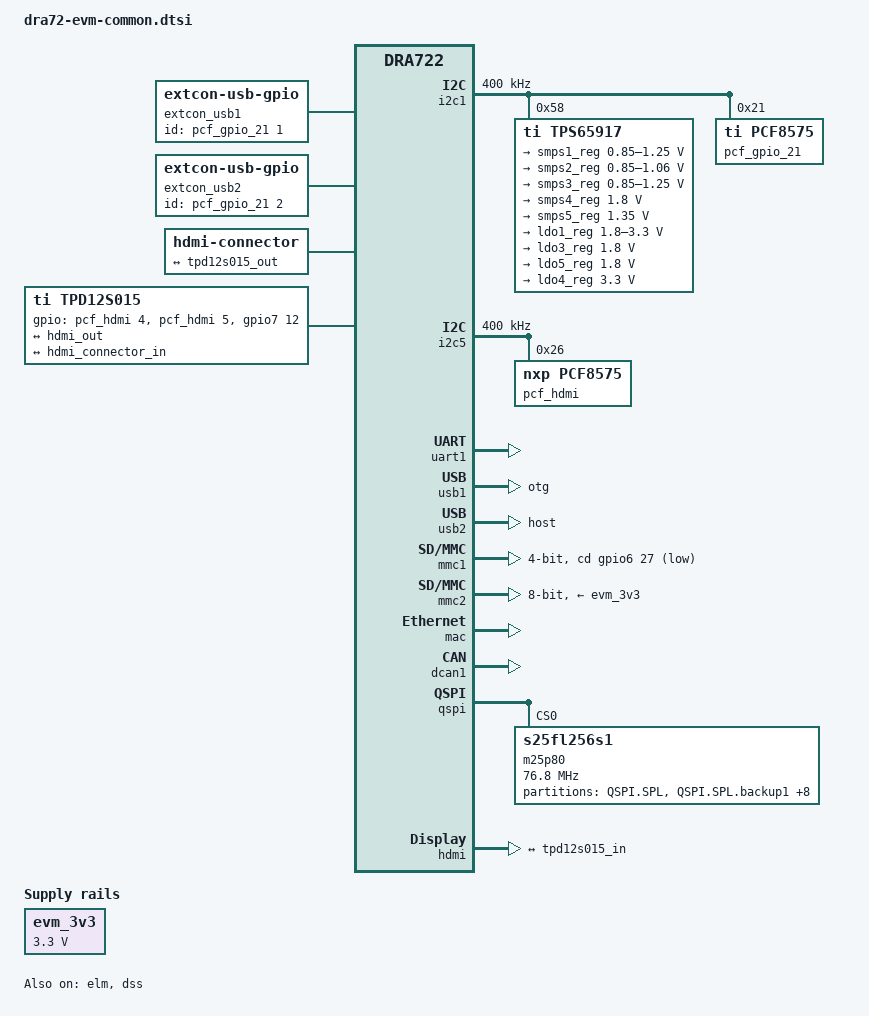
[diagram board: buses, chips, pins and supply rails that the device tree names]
/*
 * Copyright (C) 2016 Texas Instruments Incorporated - http://www.ti.com/
 *
 * This program is free software; you can redistribute it and/or modify
 * it under the terms of the GNU General Public License version 2 as
 * published by the Free Software Foundation.
 */
/dts-v1/;

#include "dra72x.dtsi"
#include <dt-bindings/gpio/gpio.h>

/ {
	compatible = "ti,dra72-evm", "ti,dra722", "ti,dra72", "ti,dra7";

	chosen {
		stdout-path = &uart1;
		tick-timer = &timer2;
	};

	aliases {
		display0 = &hdmi0;
	};

	evm_3v3: fixedregulator-evm_3v3 {
		compatible = "regulator-fixed";
		regulator-name = "evm_3v3";
		regulator-min-microvolt = <3300000>;
		regulator-max-microvolt = <3300000>;
	};

	extcon_usb1: extcon_usb1 {
		compatible = "linux,extcon-usb-gpio";
		id-gpio = <&pcf_gpio_21 1 GPIO_ACTIVE_HIGH>;
	};

	extcon_usb2: extcon_usb2 {
		compatible = "linux,extcon-usb-gpio";
		id-gpio = <&pcf_gpio_21 2 GPIO_ACTIVE_HIGH>;
	};

	hdmi0: connector {
		compatible = "hdmi-connector";
		label = "hdmi";

		type = "a";

		port {
			hdmi_connector_in: endpoint {
				remote-endpoint = <&tpd12s015_out>;
			};
		};
	};

	tpd12s015: encoder {
		compatible = "ti,tpd12s015";

		gpios = <&pcf_hdmi 4 GPIO_ACTIVE_HIGH>,	/* P4, CT CP HPD */
			<&pcf_hdmi 5 GPIO_ACTIVE_HIGH>,	/* P5, LS OE */
			<&gpio7 12 GPIO_ACTIVE_HIGH>;	/* gpio7_12/sp1_cs2, HPD */

		ports {
			#address-cells = <1>;
			#size-cells = <0>;

			port@0 {
				reg = <0>;

				tpd12s015_in: endpoint {
					remote-endpoint = <&hdmi_out>;
				};
			};

			port@1 {
				reg = <1>;

				tpd12s015_out: endpoint {
					remote-endpoint = <&hdmi_connector_in>;
				};
			};
		};
	};
};

&dra7_pmx_core {
	mmc1_pins_default: mmc1_pins_default {
		pinctrl-single,pins = <
			0x354 (PIN_INPUT_PULLUP | MUX_MODE0) /* mmc1_clk.clk */
			0x358 (PIN_INPUT_PULLUP | MUX_MODE0) /* mmc1_cmd.cmd */
			0x35c (PIN_INPUT_PULLUP | MUX_MODE0) /* mmc1_dat0.dat0 */
			0x360 (PIN_INPUT_PULLUP | MUX_MODE0) /* mmc1_dat1.dat1 */
			0x364 (PIN_INPUT_PULLUP | MUX_MODE0) /* mmc1_dat2.dat2 */
			0x368 (PIN_INPUT_PULLUP | MUX_MODE0) /* mmc1_dat3.dat3 */
		>;
	};

	mmc2_pins_default: mmc2_pins_default {
		pinctrl-single,pins = <
			0x9c (PIN_INPUT_PULLUP | MUX_MODE1) /* gpmc_a23.mmc2_clk */
			0xb0 (PIN_INPUT_PULLUP | MUX_MODE1) /* gpmc_cs1.mmc2_cmd */
			0xa0 (PIN_INPUT_PULLUP | MUX_MODE1) /* gpmc_a24.mmc2_dat0 */
			0xa4 (PIN_INPUT_PULLUP | MUX_MODE1) /* gpmc_a25.mmc2_dat1 */
			0xa8 (PIN_INPUT_PULLUP | MUX_MODE1) /* gpmc_a26.mmc2_dat2 */
			0xac (PIN_INPUT_PULLUP | MUX_MODE1) /* gpmc_a27.mmc2_dat3 */
			0x8c (PIN_INPUT_PULLUP | MUX_MODE1) /* gpmc_a19.mmc2_dat4 */
			0x90 (PIN_INPUT_PULLUP | MUX_MODE1) /* gpmc_a20.mmc2_dat5 */
			0x94 (PIN_INPUT_PULLUP | MUX_MODE1) /* gpmc_a21.mmc2_dat6 */
			0x98 (PIN_INPUT_PULLUP | MUX_MODE1) /* gpmc_a22.mmc2_dat7 */
		>;
	};

	dcan1_pins_default: dcan1_pins_default {
		pinctrl-single,pins = <
			0x3d0   (PIN_OUTPUT_PULLUP | MUX_MODE0) /* dcan1_tx */
			0x418   (PULL_UP | MUX_MODE1)	/* wakeup0.dcan1_rx */
		>;
	};

	dcan1_pins_sleep: dcan1_pins_sleep {
		pinctrl-single,pins = <
			0x3d0   (MUX_MODE15 | PULL_UP)	/* dcan1_tx.off */
			0x418   (MUX_MODE15 | PULL_UP)	/* wakeup0.off */
		>;
	};
};

&i2c1 {
	status = "okay";
	clock-frequency = <400000>;

	tps65917: tps65917@58 {
		compatible = "ti,tps65917";
		reg = <0x58>;

		interrupts = <GIC_SPI 2 IRQ_TYPE_NONE>;  /* IRQ_SYS_1N */
		interrupt-controller;
		#interrupt-cells = <2>;

		ti,system-power-controller;

		tps65917_pmic {
			compatible = "ti,tps65917-pmic";

			tps65917_regulators: regulators {
				smps1_reg: smps1 {
					/* VDD_MPU */
					regulator-name = "smps1";
					regulator-min-microvolt = <850000>;
					regulator-max-microvolt = <1250000>;
					regulator-always-on;
					regulator-boot-on;
				};

				smps2_reg: smps2 {
					/* VDD_CORE */
					regulator-name = "smps2";
					regulator-min-microvolt = <850000>;
					regulator-max-microvolt = <1060000>;
					regulator-boot-on;
					regulator-always-on;
				};

				smps3_reg: smps3 {
					/* VDD_GPU IVA DSPEVE */
					regulator-name = "smps3";
					regulator-min-microvolt = <850000>;
					regulator-max-microvolt = <1250000>;
					regulator-boot-on;
					regulator-always-on;
				};

				smps4_reg: smps4 {
					/* VDDS1V8 */
					regulator-name = "smps4";
					regulator-min-microvolt = <1800000>;
					regulator-max-microvolt = <1800000>;
					regulator-always-on;
					regulator-boot-on;
				};

				smps5_reg: smps5 {
					/* VDD_DDR */
					regulator-name = "smps5";
					regulator-min-microvolt = <1350000>;
					regulator-max-microvolt = <1350000>;
					regulator-boot-on;
					regulator-always-on;
				};

				ldo1_reg: ldo1 {
					/* LDO1_OUT --> SDIO  */
					regulator-name = "ldo1";
					regulator-min-microvolt = <1800000>;
					regulator-max-microvolt = <3300000>;
					regulator-always-on;
					regulator-boot-on;
					regulator-allow-bypass;
				};

				ldo3_reg: ldo3 {
					/* VDDA_1V8_PHY */
					regulator-name = "ldo3";
					regulator-min-microvolt = <1800000>;
					regulator-max-microvolt = <1800000>;
					regulator-boot-on;
					regulator-always-on;
				};

				ldo5_reg: ldo5 {
					/* VDDA_1V8_PLL */
					regulator-name = "ldo5";
					regulator-min-microvolt = <1800000>;
					regulator-max-microvolt = <1800000>;
					regulator-always-on;
					regulator-boot-on;
				};

				ldo4_reg: ldo4 {
					/* VDDA_3V_USB: VDDA_USBHS33 */
					regulator-name = "ldo4";
					regulator-min-microvolt = <3300000>;
					regulator-max-microvolt = <3300000>;
					regulator-boot-on;
				};
			};
		};

		tps65917_power_button {
			compatible = "ti,palmas-pwrbutton";
			interrupt-parent = <&tps65917>;
			interrupts = <1 IRQ_TYPE_NONE>;
			wakeup-source;
			ti,palmas-long-press-seconds = <6>;
		};
	};

	pcf_gpio_21: gpio@21 {
		compatible = "ti,pcf8575";
		u-boot,i2c-offset-len = <0>;
		reg = <0x21>;
		lines-initial-states = <0x1408>;
		gpio-controller;
		#gpio-cells = <2>;

		interrupt-controller;
		#interrupt-cells = <2>;
	};
};

&i2c5 {
	status = "okay";
	clock-frequency = <400000>;

	pcf_hdmi: pcf8575@26 {
		compatible = "nxp,pcf8575";
		u-boot,i2c-offset-len = <0>;
		reg = <0x26>;
		gpio-controller;
		#gpio-cells = <2>;
		/*
		 * initial state is used here to keep the mdio interface
		 * selected on RU89 through SEL_VIN4_MUX_S0, VIN2_S1 and
		 * VIN2_S0 driven high otherwise Ethernet stops working
		 * VIN6_SEL_S0 is low, thus selecting McASP3 over VIN6
		 */
		lines-initial-states = <0x0f2b>;

		p1 {
			/* vin6_sel_s0: high: VIN6, low: audio */
			gpio-hog;
			gpios = <1 GPIO_ACTIVE_HIGH>;
			output-low;
			line-name = "vin6_sel_s0";
		};
	};
};

&uart1 {
	status = "okay";
	interrupts-extended = <&crossbar_mpu GIC_SPI 67 IRQ_TYPE_LEVEL_HIGH>,
			      <&dra7_pmx_core 0x3e0>;
};

&elm {
	status = "okay";
};

&gpmc {
	/*
	 * For the existing IOdelay configuration via U-Boot we don't
	 * support NAND on dra72-evm. Keep it disabled. Enabling it
	 * requires a different configuration by U-Boot.
	 */
	status = "disabled";
	ranges = <0 0 0x08000000 0x01000000>;	/* minimum GPMC partition = 16MB */
	nand@0,0 {
		/* To use NAND, DIP switch SW5 must be set like so:
		 * SW5.1 (NAND_SELn) = ON (LOW)
		 * SW5.9 (GPMC_WPN) = OFF (HIGH)
		 */
		compatible = "ti,omap2-nand";
		reg = <0 0 4>;          /* device IO registers */
		interrupt-parent = <&gpmc>;
		interrupts = <0 IRQ_TYPE_NONE>, /* fifoevent */
			     <1 IRQ_TYPE_NONE>; /* termcount */
		rb-gpios = <&gpmc 0 GPIO_ACTIVE_HIGH>; /* gpmc_wait0 pin */	/* device IO registers */
		ti,nand-ecc-opt = "bch8";
		ti,elm-id = <&elm>;
		nand-bus-width = <16>;
		gpmc,device-width = <2>;
		gpmc,sync-clk-ps = <0>;
		gpmc,cs-on-ns = <0>;
		gpmc,cs-rd-off-ns = <80>;
		gpmc,cs-wr-off-ns = <80>;
		gpmc,adv-on-ns = <0>;
		gpmc,adv-rd-off-ns = <60>;
		gpmc,adv-wr-off-ns = <60>;
		gpmc,we-on-ns = <10>;
		gpmc,we-off-ns = <50>;
		gpmc,oe-on-ns = <4>;
		gpmc,oe-off-ns = <40>;
		gpmc,access-ns = <40>;
		gpmc,wr-access-ns = <80>;
		gpmc,rd-cycle-ns = <80>;
		gpmc,wr-cycle-ns = <80>;
		gpmc,bus-turnaround-ns = <0>;
		gpmc,cycle2cycle-delay-ns = <0>;
		gpmc,clk-activation-ns = <0>;
		gpmc,wait-monitoring-ns = <0>;
		gpmc,wr-data-mux-bus-ns = <0>;
		/* MTD partition table */
		/* All SPL-* partitions are sized to minimal length
		 * which can be independently programmable. For
		 * NAND flash this is equal to size of erase-block */
		#address-cells = <1>;
		#size-cells = <1>;
		partition@0 {
			label = "NAND.SPL";
			reg = <0x00000000 0x000020000>;
		};
		partition@1 {
			label = "NAND.SPL.backup1";
			reg = <0x00020000 0x00020000>;
		};
		partition@2 {
			label = "NAND.SPL.backup2";
			reg = <0x00040000 0x00020000>;
		};
		partition@3 {
			label = "NAND.SPL.backup3";
			reg = <0x00060000 0x00020000>;
		};
		partition@4 {
			label = "NAND.u-boot-spl-os";
			reg = <0x00080000 0x00040000>;
		};
		partition@5 {
			label = "NAND.u-boot";
			reg = <0x000c0000 0x00100000>;
		};
		partition@6 {
			label = "NAND.u-boot-env";
			reg = <0x001c0000 0x00020000>;
		};
		partition@7 {
			label = "NAND.u-boot-env.backup1";
			reg = <0x001e0000 0x00020000>;
		};
		partition@8 {
			label = "NAND.kernel";
			reg = <0x00200000 0x00800000>;
		};
		partition@9 {
			label = "NAND.file-system";
			reg = <0x00a00000 0x0f600000>;
		};
	};
};

&usb2_phy1 {
	phy-supply = <&ldo4_reg>;
};

&usb2_phy2 {
	phy-supply = <&ldo4_reg>;
};

&omap_dwc3_1 {
	extcon = <&extcon_usb1>;
};

&omap_dwc3_2 {
	extcon = <&extcon_usb2>;
};

&usb1 {
	dr_mode = "otg";
};

&usb2 {
	dr_mode = "host";
};

&mmc1 {
	status = "okay";
	pinctrl-names = "default";
	pinctrl-0 = <&mmc1_pins_default>;
	vmmc_aux-supply = <&ldo1_reg>;
	bus-width = <4>;
	/*
	 * SDCD signal is not being used here - using the fact that GPIO mode
	 * is a viable alternative
	 */
	cd-gpios = <&gpio6 27 GPIO_ACTIVE_LOW>;
	max-frequency = <192000000>;
};

&mmc2 {
	/* SW5-3 in ON position */
	status = "okay";
	pinctrl-names = "default";
	pinctrl-0 = <&mmc2_pins_default>;

	vmmc-supply = <&evm_3v3>;
	bus-width = <8>;
	ti,non-removable;
	max-frequency = <192000000>;
};

&mac {
	status = "okay";
};

&dcan1 {
	status = "ok";
};

&qspi {
	status = "okay";

	spi-max-frequency = <76800000>;
	m25p80@0 {
		compatible = "s25fl256s1", "spi-flash";
		spi-max-frequency = <76800000>;
		reg = <0>;
		spi-tx-bus-width = <1>;
		spi-rx-bus-width = <4>;
		#address-cells = <1>;
		#size-cells = <1>;

		/* MTD partition table.
		 * The ROM checks the first four physical blocks
		 * for a valid file to boot and the flash here is
		 * 64KiB block size.
		 */
		partition@0 {
			label = "QSPI.SPL";
			reg = <0x00000000 0x000010000>;
		};
		partition@1 {
			label = "QSPI.SPL.backup1";
			reg = <0x00010000 0x00010000>;
		};
		partition@2 {
			label = "QSPI.SPL.backup2";
			reg = <0x00020000 0x00010000>;
		};
		partition@3 {
			label = "QSPI.SPL.backup3";
			reg = <0x00030000 0x00010000>;
		};
		partition@4 {
			label = "QSPI.u-boot";
			reg = <0x00040000 0x00100000>;
		};
		partition@5 {
			label = "QSPI.u-boot-spl-os";
			reg = <0x00140000 0x00080000>;
		};
		partition@6 {
			label = "QSPI.u-boot-env";
			reg = <0x001c0000 0x00010000>;
		};
		partition@7 {
			label = "QSPI.u-boot-env.backup1";
			reg = <0x001d0000 0x0010000>;
		};
		partition@8 {
			label = "QSPI.kernel";
			reg = <0x001e0000 0x0800000>;
		};
		partition@9 {
			label = "QSPI.file-system";
			reg = <0x009e0000 0x01620000>;
		};
	};
};

&dss {
	status = "ok";

	vdda_video-supply = <&ldo5_reg>;
};

&hdmi {
	status = "ok";

	port {
		hdmi_out: endpoint {
			remote-endpoint = <&tpd12s015_in>;
		};
	};
};
